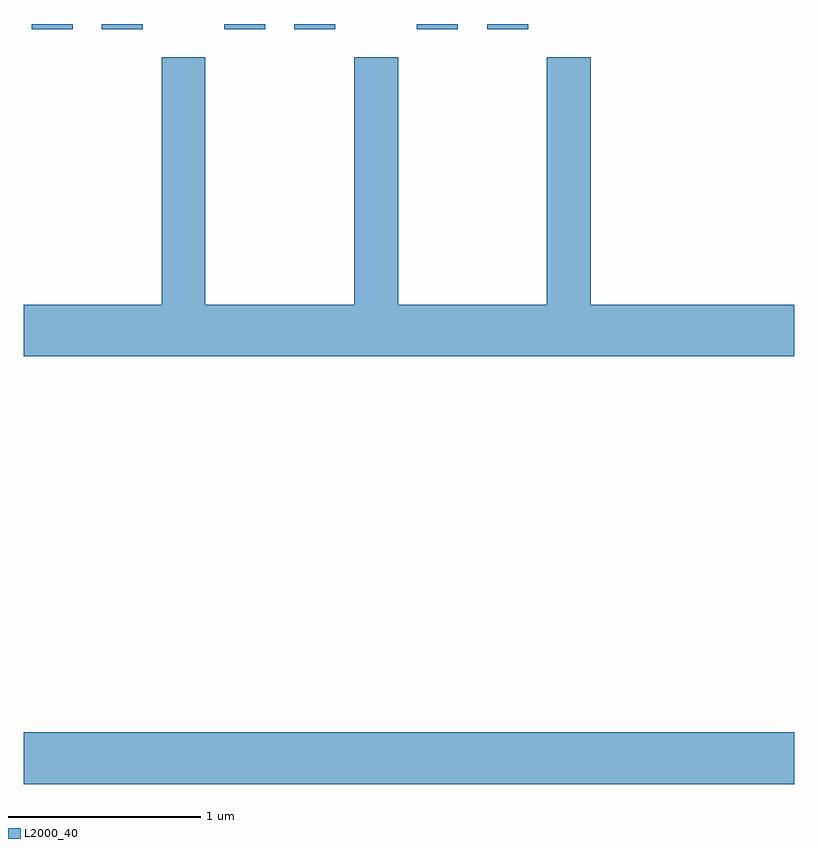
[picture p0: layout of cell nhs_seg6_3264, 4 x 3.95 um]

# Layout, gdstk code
import gdstk
lib = gdstk.Library(unit=1e-6, precision=1e-09)
def R(c, l, rs):  # rectangles x0, y0, x1, y1
    for r in rs: c.add(gdstk.rectangle(r[:2], r[2:], *l))
def P(c, l, *ps):  # polygons
    for p in ps: c.add(gdstk.Polygon(p, *l))
L2000_40 = (2000, 40)

nhs_seg6_3264 = lib.new_cell('nhs_seg6_3264')
R(nhs_seg6_3264, L2000_40, [(283.611,1592.216,287.611,1592.484), (283.651,1596.136,283.864,1596.162), (284.016,1596.136,284.229,1596.162), (284.651,1596.136,284.864,1596.162), (285.016,1596.136,285.229,1596.162), (285.651,1596.136,285.864,1596.162), (286.016,1596.136,286.229,1596.162)])
P(nhs_seg6_3264, L2000_40, [(287.611,1594.704),(286.554,1594.704),(286.554,1595.989),(286.326,1595.989),(286.326,1594.704),(285.554,1594.704),(285.554,1595.989),(285.326,1595.989),(285.326,1594.704),(284.554,1594.704),(284.554,1595.989),(284.326,1595.989),(284.326,1594.704),(283.611,1594.704),(283.611,1594.436),(287.611,1594.436)])

lib.write_gds('nhs_seg6_3264.gds')
